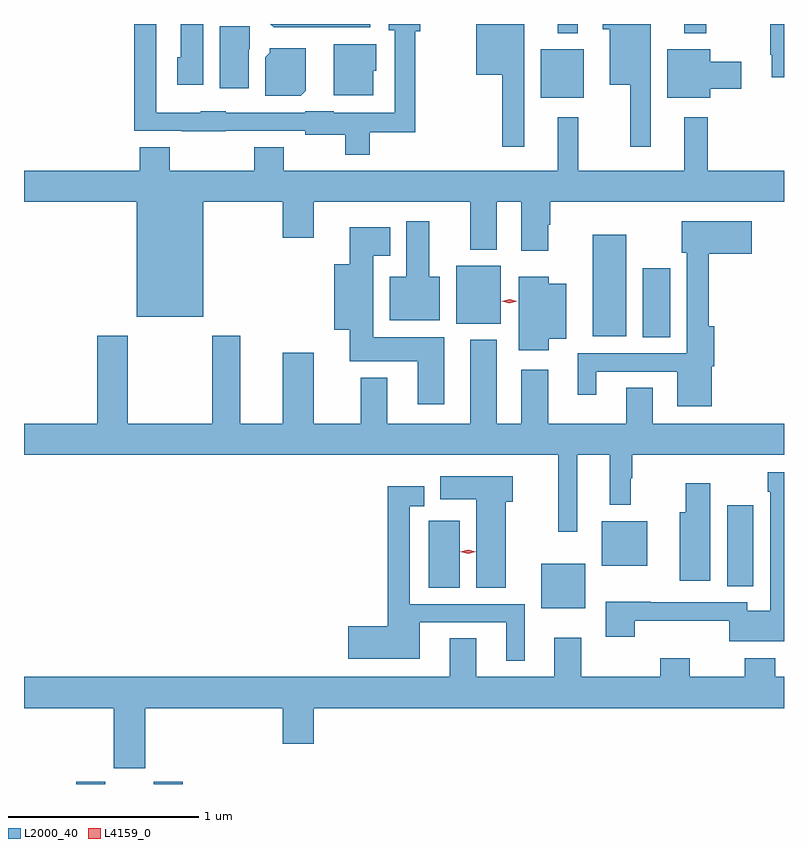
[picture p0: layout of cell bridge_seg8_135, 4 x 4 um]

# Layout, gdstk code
import gdstk
lib = gdstk.Library(unit=1e-6, precision=1e-09)
def R(c, l, rs):  # rectangles x0, y0, x1, y1
    for r in rs: c.add(gdstk.rectangle(r[:2], r[2:], *l))
def P(c, l, *ps):  # polygons
    for p in ps: c.add(gdstk.Polygon(p, *l))
L2000_40 = (2000, 40)
L4159_0 = (4159, 0)

bridge_seg8_135 = lib.new_cell('bridge_seg8_135')
R(bridge_seg8_135, L2000_40, [(451.634,1154.728,451.786,1154.739), (452.042,1154.728,452.195,1154.739), (454.082,1155.653,454.312,1155.886), (455.06,1155.769,455.197,1156.195), (454.4,1155.878,454.639,1156.111), (454.616,1157.08,454.759,1157.443), (454.352,1157.084,454.528,1157.62), (453.635,1157.15,453.868,1157.455), (454.079,1158.341,454.306,1158.595), (454.169,1158.68,454.273,1158.728), (454.835,1158.68,454.949,1158.728)])
P(bridge_seg8_135, L2000_40, [(453.991,1158.728),(453.74,1158.728),(453.74,1158.461),(453.877,1158.461),(453.877,1158.081),(453.991,1158.081)],
  [(454.657,1158.728),(454.406,1158.728),(454.406,1158.701),(454.442,1158.701),(454.442,1158.407),(454.551,1158.407),(454.551,1158.081),(454.657,1158.081)],
  [(453.181,1158.728),(452.656,1158.728),(452.674,1158.71),(453.181,1158.71)],
  [(453.179,1158.158),(453.418,1158.158),(453.418,1158.689),(453.444,1158.689),(453.444,1158.728),(453.278,1158.728),(453.278,1158.694),(453.309,1158.694),(453.309,1158.262),(452.988,1158.262),(452.988,1158.268),(452.838,1158.268),(452.838,1158.261),(452.421,1158.261),(452.421,1158.268),(452.289,1158.268),(452.289,1158.262),(452.055,1158.262),(452.055,1158.728),(451.939,1158.728),(451.939,1158.165),(452.189,1158.165),(452.189,1158.164),(452.421,1158.164),(452.421,1158.165),(452.838,1158.165),(452.838,1158.146),(453.051,1158.146),(453.051,1158.041),(453.179,1158.041)],
  [(452.302,1158.728),(452.183,1158.728),(452.183,1158.552),(452.165,1158.552),(452.165,1158.408),(452.302,1158.408)],
  [(455.359,1158.728),(455.287,1158.728),(455.287,1158.565),(455.294,1158.565),(455.294,1158.449),(455.359,1158.449)],
  [(452.542,1158.594),(452.546,1158.594),(452.546,1158.717),(452.39,1158.717),(452.39,1158.39),(452.542,1158.39)],
  [(453.196,1158.483),(453.214,1158.483),(453.214,1158.622),(452.99,1158.622),(452.99,1158.353),(453.196,1158.353)],
  [(452.842,1158.376),(452.842,1158.601),(452.652,1158.601),(452.652,1158.576),(452.63,1158.554),(452.63,1158.35),(452.816,1158.35)],
  [(454.972,1158.388),(455.134,1158.388),(455.134,1158.53),(454.972,1158.53),(454.972,1158.595),(454.745,1158.595),(454.745,1158.341),(454.972,1158.341)],
  [(452.302,1157.792),(452.72,1157.792),(452.72,1157.604),(452.884,1157.604),(452.884,1157.792),(453.707,1157.792),(453.707,1157.54),(453.847,1157.54),(453.847,1157.792),(453.977,1157.792),(453.977,1157.535),(454.117,1157.535),(454.117,1157.672),(454.13,1157.672),(454.13,1157.792),(455.359,1157.792),(455.359,1157.956),(454.957,1157.956),(454.957,1158.238),(454.835,1158.238),(454.835,1157.956),(454.276,1157.956),(454.276,1158.238),(454.169,1158.238),(454.169,1157.956),(452.727,1157.956),(452.727,1158.08),(452.572,1158.08),(452.572,1157.956),(452.127,1157.956),(452.127,1158.08),(451.967,1158.08),(451.967,1157.956),(451.359,1157.956),(451.359,1157.792),(451.952,1157.792),(451.952,1157.186),(452.302,1157.186)],
  [(454.978,1156.926),(454.991,1156.926),(454.991,1157.137),(454.964,1157.137),(454.964,1157.519),(455.188,1157.519),(455.188,1157.689),(454.822,1157.689),(454.822,1157.523),(454.848,1157.523),(454.848,1156.995),(454.274,1156.995),(454.274,1156.776),(454.372,1156.776),(454.372,1156.899),(454.796,1156.899),(454.796,1156.715),(454.978,1156.715)],
  [(453.547,1157.398),(453.493,1157.398),(453.493,1157.689),(453.371,1157.689),(453.371,1157.398),(453.284,1157.398),(453.284,1157.168),(453.547,1157.168)],
  [(453.571,1157.08),(453.196,1157.08),(453.196,1157.507),(453.286,1157.507),(453.286,1157.659),(453.074,1157.659),(453.074,1157.464),(452.993,1157.464),(452.993,1157.12),(453.074,1157.12),(453.074,1156.952),(453.431,1156.952),(453.431,1156.728),(453.571,1156.728)],
  [(454.12,1157.072),(454.213,1157.072),(454.213,1157.362),(454.12,1157.362),(454.12,1157.398),(453.962,1157.398),(453.962,1157.01),(454.12,1157.01)],
  [(454.171,1156.056),(454.27,1156.056),(454.27,1156.46),(454.442,1156.46),(454.442,1156.197),(454.552,1156.197),(454.552,1156.337),(454.559,1156.337),(454.559,1156.46),(455.359,1156.46),(455.359,1156.624),(454.669,1156.624),(454.669,1156.814),(454.529,1156.814),(454.529,1156.624),(454.117,1156.624),(454.117,1156.909),(453.977,1156.909),(453.977,1156.624),(453.847,1156.624),(453.847,1157.065),(453.707,1157.065),(453.707,1156.624),(453.271,1156.624),(453.271,1156.867),(453.131,1156.867),(453.131,1156.624),(452.884,1156.624),(452.884,1156.999),(452.72,1156.999),(452.72,1156.624),(452.497,1156.624),(452.497,1157.086),(452.35,1157.086),(452.35,1156.624),(451.905,1156.624),(451.905,1157.086),(451.745,1157.086),(451.745,1156.624),(451.359,1156.624),(451.359,1156.46),(454.171,1156.46)],
  [(455.359,1156.368),(455.274,1156.368),(455.274,1156.265),(455.286,1156.265),(455.286,1155.64),(455.166,1155.64),(455.166,1155.684),(454.657,1155.684),(454.657,1155.686),(454.421,1155.686),(454.421,1155.504),(454.574,1155.504),(454.574,1155.587),(455.07,1155.587),(455.07,1155.479),(455.359,1155.479)],
  [(453.895,1156.214),(453.931,1156.214),(453.931,1156.348),(453.55,1156.348),(453.55,1156.226),(453.74,1156.226),(453.74,1155.76),(453.895,1155.76)],
  [(454.972,1156.312),(454.843,1156.312),(454.843,1156.159),(454.811,1156.159),(454.811,1155.798),(454.972,1155.798)],
  [(453.994,1155.675),(453.39,1155.675),(453.39,1156.19),(453.465,1156.19),(453.465,1156.294),(453.274,1156.294),(453.274,1155.557),(453.066,1155.557),(453.066,1155.386),(453.442,1155.386),(453.442,1155.579),(453.896,1155.579),(453.896,1155.378),(453.994,1155.378)],
  [(453.652,1156.114),(453.49,1156.114),(453.49,1156.001),(453.488,1156.001),(453.488,1155.76),(453.652,1155.76)],
  [(451.996,1155.128),(452.72,1155.128),(452.72,1154.94),(452.884,1154.94),(452.884,1155.128),(455.359,1155.128),(455.359,1155.292),(455.312,1155.292),(455.312,1155.391),(455.152,1155.391),(455.152,1155.292),(454.863,1155.292),(454.863,1155.391),(454.708,1155.391),(454.708,1155.292),(454.291,1155.292),(454.291,1155.499),(454.151,1155.499),(454.151,1155.292),(453.739,1155.292),(453.739,1155.494),(453.599,1155.494),(453.599,1155.292),(451.359,1155.292),(451.359,1155.128),(451.832,1155.128),(451.832,1154.811),(451.996,1154.811)])
P(bridge_seg8_135, L4159_0, [(453.914,1157.259),(453.874,1157.27),(453.874,1157.27),(453.874,1157.27),(453.915,1157.279),(453.955,1157.268),(453.955,1157.268),(453.955,1157.268)],
  [(453.696,1155.94),(453.655,1155.95),(453.655,1155.95),(453.655,1155.951),(453.696,1155.96),(453.736,1155.951),(453.736,1155.95),(453.736,1155.95)])

lib.write_gds('bridge_seg8_135.gds')
